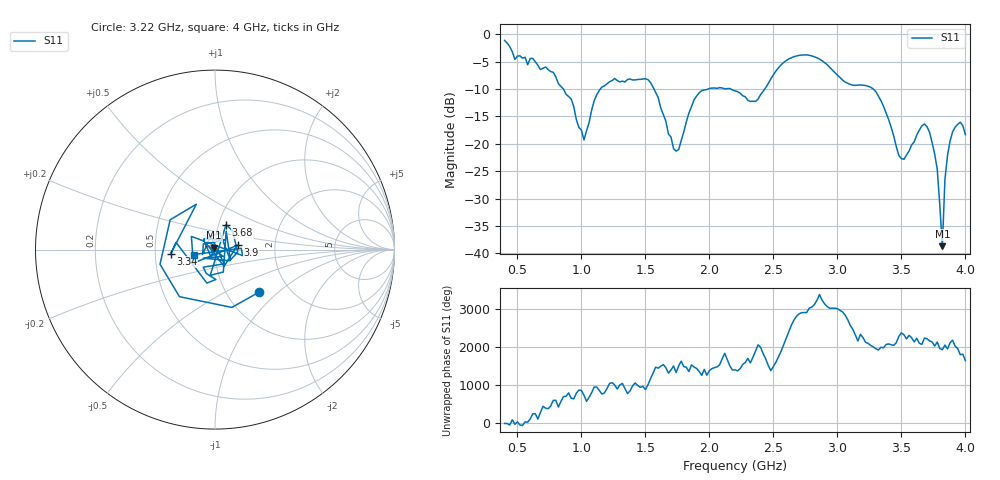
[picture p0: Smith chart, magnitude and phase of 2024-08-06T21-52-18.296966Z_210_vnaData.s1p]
!Created with skrf (http://scikit-rf.org).
# Hz S RI R 50.0
!freq ReS11 ImS11
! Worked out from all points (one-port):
!   181 points, 400 MHz to 4 GHz, reference 50 ohm
!   lowest |S11| = -38.7 dB at 3.82 GHz (marker M1), VSWR 1.02, Z = 49.4 + j0.999 ohm
!   |S11| at or under -10 dB: 860 MHz to 1.148 GHz (287.9 MHz wide, 28.7 % of centre); 1.567 GHz to 1.989 GHz (421.8 MHz wide, 23.7 % of centre); 3.281 GHz to end of sweep (the widest 3 of 4)
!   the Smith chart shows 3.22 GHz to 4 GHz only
!   S11 on the Smith chart (normalised r, x): 3.22 GHz: 1.40, -0.76; 3.34 GHz: 0.60, -0.03; 3.68 GHz: 1.09, +0.31; 3.9 GHz: 1.29, +0.06; 4 GHz: 0.79, -0.04
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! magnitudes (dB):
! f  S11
! 400 MHz  -1.1
! 480 MHz  -4.6
! 620 MHz  -4.4
! 860 MHz  -10.0
! 1.02 GHz  -19.3
! 1.14 GHz  -10.2
! 1.3 GHz  -8.7
! 1.52 GHz  -8.3
! 1.72 GHz  -20.9
! 1.76 GHz  -21.0
! 1.92 GHz  -10.7
! 2.2 GHz  -10.3
! 2.36 GHz  -12.3
! 2.66 GHz  -4.1
! 2.84 GHz  -4.3
! 3.1 GHz  -9.2
! 3.22 GHz  -9.4
! 3.34 GHz  -12.1
! 3.48 GHz  -22.1
! 3.56 GHz  -21.3
! 3.68 GHz  -16.4
! 3.72 GHz  -17.9
! 3.78 GHz  -24.6
! 3.82 GHz  -38.7
! 3.84 GHz  -26.6
! 3.9 GHz  -17.8
! 3.96 GHz  -16.0
! 4 GHz  -18.3
